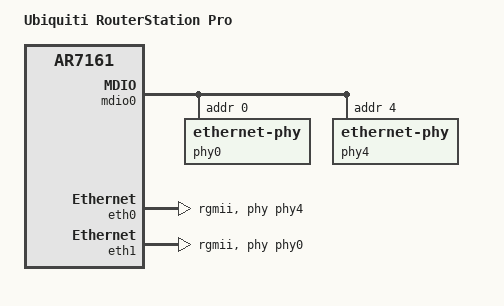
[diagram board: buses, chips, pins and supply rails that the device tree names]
// SPDX-License-Identifier: GPL-2.0-or-later OR MIT
/dts-v1/;

#include "ar7161_ubnt_rs.dtsi"

/ {
	compatible = "ubnt,rspro", "qca,ar7161";
	model = "Ubiquiti RouterStation Pro";
};

&mdio0 {
	status = "okay";

	phy0: ethernet-phy@0 {
		reg = <0>;
	};

	phy4: ethernet-phy@4 {
		reg = <4>;
	};
};

&eth0 {
	compatible = "qca,ar7100-eth", "syscon";
	phy-mode = "rgmii";
	phy-handle = <&phy4>;
};

&eth1 {
	compatible = "qca,ar7100-eth", "syscon";
	phy-mode = "rgmii";
	phy-handle = <&phy0>;
};
